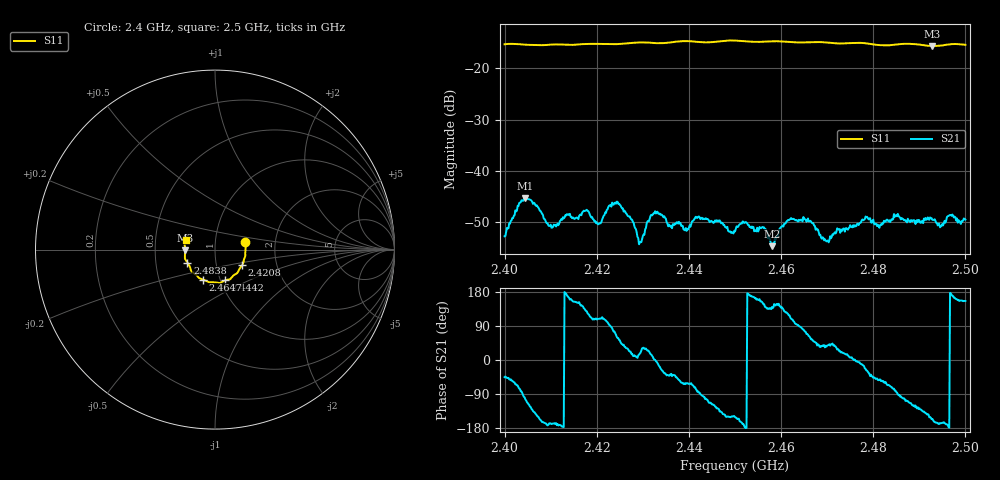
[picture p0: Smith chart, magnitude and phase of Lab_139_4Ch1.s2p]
# Hz S RI R 50
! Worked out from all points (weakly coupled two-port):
!   601 points, 2.4 GHz to 2.5 GHz, reference 50 ohm
!   highest |S21| = -45.41 dB at 2.4045 GHz (marker M1); lowest = -54.8 dB at 2.458 GHz (marker M2)
!   lowest |S11| = -15.6 dB at 2.4928 GHz (marker M3), VSWR 1.40, Z = 35.8 - j0.364 ohm
!   |S11| at or under -10 dB: start of sweep to end of sweep
!   S12 and S22 are empty: the file has one direction only
!   S11 on the Smith chart (normalised r, x): 2.4 GHz: 1.40, +0.12; 2.4208 GHz: 1.33, -0.24; 2.4442 GHz: 1.05, -0.37; 2.4647 GHz: 0.83, -0.29; 2.4838 GHz: 0.73, -0.11; 2.5 GHz: 0.72, +0.08
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2.4e9  0.1677 0.0411  0.00159 -0.00161  0 0  0 0
2.4045e9  0.1705 0.0134  -0.00129 -0.00521  0 0  0 0
2.41e9  0.169 -0.0279  -0.00287 -0.000651  0 0  0 0
2.416667e9  0.159 -0.0682  -0.00297 0.00212  0 0  0 0
2.420833e9  0.1507 -0.0872  -0.000995 0.00287  0 0  0 0
2.4245e9  0.1378 -0.1052  0.0026 0.0042  0 0  0 0
2.4295e9  0.1261 -0.1289  0.00187 0.000658  0 0  0 0
2.433333e9  0.108 -0.1402  0.00371 -0.000782  0 0  0 0
2.439333e9  0.0839 -0.1652  0.00132 -0.00239  0 0  0 0
2.444167e9  0.0568 -0.1713  -0.00107 -0.00315  0 0  0 0
2.45e9  0.0246 -0.1863  -0.00221 -0.00124  0 0  0 0
2.456167e9  -0.015 -0.182  -0.00232 0.00149  0 0  0 0
2.458e9  -0.0254 -0.1826  -0.00138 0.00118  0 0  0 0
2.461667e9  -0.0447 -0.1764  -0.00154 0.00287  0 0  0 0
2.464667e9  -0.0671 -0.167  0.000464 0.00314  0 0  0 0
2.466667e9  -0.0799 -0.1627  0.00177 0.00251  0 0  0 0
2.469833e9  -0.0925 -0.1541  0.00165 0.00116  0 0  0 0
2.478167e9  -0.135 -0.1146  0.0031 -0.00125  0 0  0 0
2.483333e9  -0.1504 -0.0763  0.0013 -0.00289  0 0  0 0
2.483833e9  -0.1533 -0.0721  0.00107 -0.00306  0 0  0 0
2.492833e9  -0.1657 -0.00494  -0.003 -0.00136  0 0  0 0
2.5e9  -0.1624 0.0528  -0.00301 0.00136  0 0  0 0
